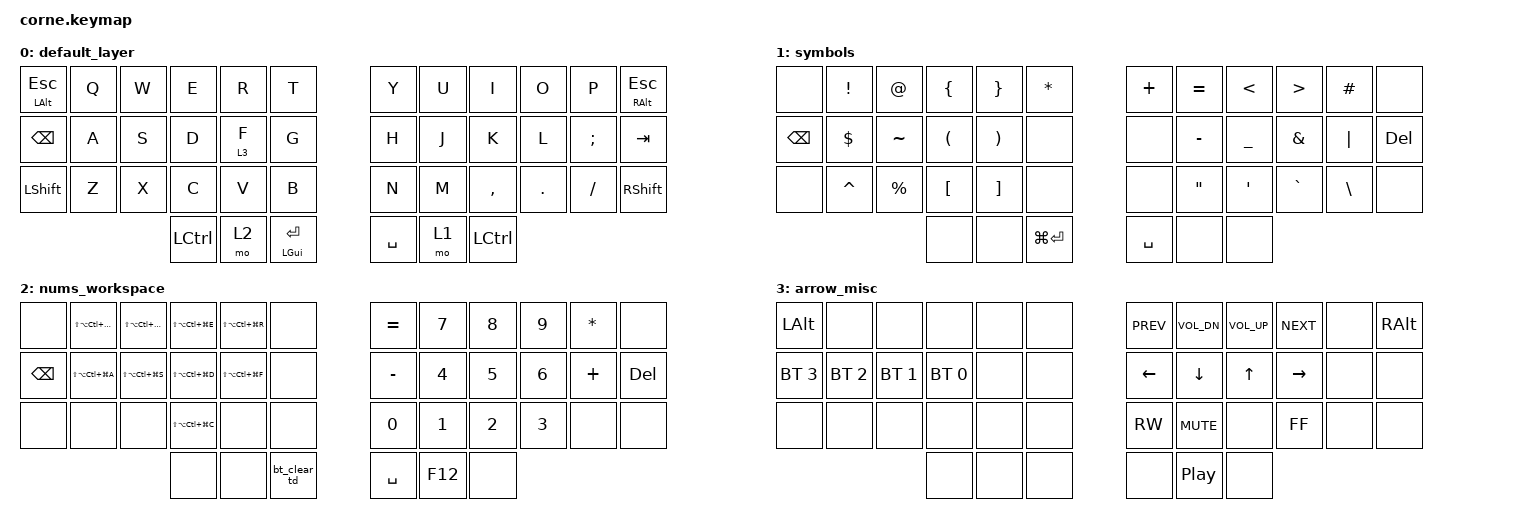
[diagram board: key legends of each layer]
/*
 * Copyright (c) 2020 The ZMK Contributors
 *
 * SPDX-License-Identifier: MIT
 */

#include <behaviors.dtsi>
#include <dt-bindings/zmk/keys.h>
#include <dt-bindings/zmk/bt.h>

/ {
        /*
        * Tap dance to clear bluetooth
        * Hit the key this is assigned to 3 times for it to clear the current bluetooth profile
        */
        behaviors {
            bt_clear_td: tap_dance_0 {
                compatible = "zmk,behavior-tap-dance";
                #binding-cells = <0>;
                tapping-term-ms = <200>;
                bindings = <&none>, <&none>, <&bt BT_CLR>;
            };
        };
        
        keymap {
                compatible = "zmk,keymap";

                default_layer {
                        bindings = <
  &mt LALT ESC &kp Q &kp W &kp E &kp R &kp T    &kp Y &kp U &kp I &kp O &kp P &mt RALT ESC
  &kp BSPC &kp A &kp S &kp D &lt 3 F &kp G   &kp H &kp J &kp K &kp L &kp SEMI &kp TAB
  &kp LSHFT &kp Z &kp X &kp C &kp V &kp B   &kp N &kp M &kp COMMA &kp DOT &kp FSLH &kp RSHFT
      &kp LCTRL &mo 2 &mt LGUI ENTER   &kp SPACE &mo 1 &kp LCTRL
                        >;
                };
                symbols {
                        bindings = <
  &none &kp EXCL &kp AT &kp LBRC &kp RBRC &kp ASTRK   &kp PLUS &kp EQUAL &kp LT &kp GT &kp HASH &none
  &kp BSPC &kp DLLR &kp TILDE &kp LPAR &kp RPAR &none   &none &kp MINUS &kp UNDER &kp AMPS &kp PIPE &kp DEL
  &none &kp CARET &kp PRCNT &kp LBKT &kp RBKT &none   &none &kp DQT &kp SQT &kp GRAVE &kp BSLH &none
      &none &none &kp LG(ENTER)   &kp SPACE &none &none
                        >;
                };
                nums_workspace {
                        bindings = <
  &none &kp LS(LA(LC(LG(Q)))) &kp LS(LA(LC(LG(W)))) &kp LS(LA(LC(LG(E)))) &kp LS(LA(LC(LG(R)))) &none   &kp EQUAL &kp N7 &kp N8 &kp N9 &kp ASTRK &none
  &kp BSPC &kp LS(LA(LC(LG(A)))) &kp LS(LA(LC(LG(S)))) &kp LS(LA(LC(LG(D)))) &kp LS(LA(LC(LG(F)))) &none   &kp MINUS &kp N4 &kp N5 &kp N6 &kp PLUS &kp DEL
  &none &none &none &kp LS(LA(LC(LG(C)))) &none &none   &kp N0 &kp N1 &kp N2 &kp N3 &none &none
      &none &none &bt_clear_td    &kp SPACE &kp F12 &none
                        >;
                };
                arrow_misc {
                        bindings = <
   &kp LALT &none &none &none &none &none   &kp C_PREV &kp C_VOL_DN &kp C_VOL_UP &kp C_NEXT &none &kp RALT
   &bt BT_SEL 3 &bt BT_SEL 2 &bt BT_SEL 1 &bt BT_SEL 0 &none &none   &kp LEFT &kp DOWN &kp UP &kp RIGHT &none &none
   &none &none &none &none &none &none   &kp C_RW &kp C_MUTE &none &kp C_FF &none &none
      &none &none &none   &none &kp C_PP &none 
                        >;
                };
        };
};
